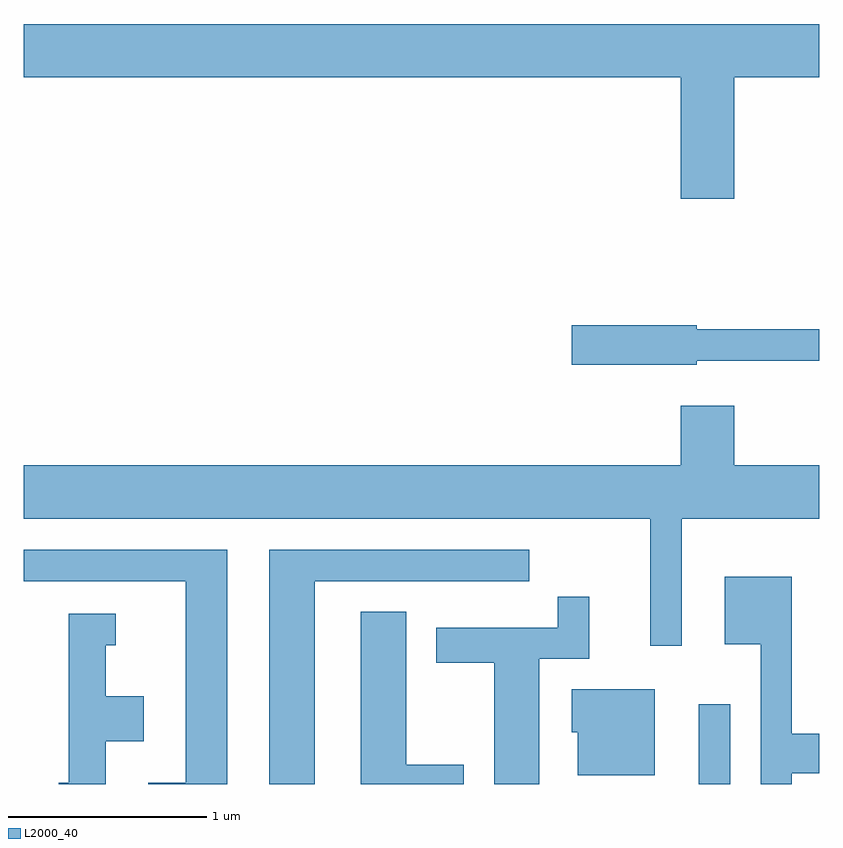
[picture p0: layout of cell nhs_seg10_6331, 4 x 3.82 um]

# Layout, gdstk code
import gdstk
lib = gdstk.Library(unit=1e-6, precision=1e-09)
def R(c, l, rs):  # rectangles x0, y0, x1, y1
    for r in rs: c.add(gdstk.rectangle(r[:2], r[2:], *l))
def P(c, l, *ps):  # polygons
    for p in ps: c.add(gdstk.Polygon(p, *l))
L2000_40 = (2000, 40)

nhs_seg10_6331 = lib.new_cell('nhs_seg10_6331')
R(nhs_seg10_6331, L2000_40, [(375.006,2172.522,375.164,2172.923)])
P(nhs_seg10_6331, L2000_40, [(375.184,2176.076),(375.611,2176.076),(375.611,2176.344),(371.611,2176.344),(371.611,2176.076),(374.916,2176.076),(374.916,2175.466),(375.184,2175.466)],
  [(374.994,2174.651),(375.611,2174.651),(375.611,2174.809),(374.994,2174.809),(374.994,2174.829),(374.366,2174.829),(374.366,2174.631),(374.994,2174.631)],
  [(374.919,2173.856),(375.611,2173.856),(375.611,2174.124),(375.184,2174.124),(375.184,2174.424),(374.916,2174.424),(374.916,2174.124),(371.611,2174.124),(371.611,2173.856),(374.761,2173.856),(374.761,2173.218),(374.919,2173.218)],
  [(373.074,2173.541),(374.153,2173.541),(374.153,2173.699),(372.846,2173.699),(372.846,2172.522),(373.074,2172.522)],
  [(372.634,2173.699),(371.611,2173.699),(371.611,2173.541),(372.426,2173.541),(372.426,2172.529),(372.238,2172.529),(372.238,2172.522),(372.634,2172.522)],
  [(375.474,2172.576),(375.611,2172.576),(375.611,2172.774),(375.474,2172.774),(375.474,2173.564),(375.136,2173.564),(375.136,2173.226),(375.316,2173.226),(375.316,2172.522),(375.474,2172.522)],
  [(374.204,2173.151),(374.454,2173.151),(374.454,2173.463),(374.296,2173.463),(374.296,2173.309),(373.686,2173.309),(373.686,2173.131),(373.976,2173.131),(373.976,2172.522),(374.204,2172.522)],
  [(373.824,2172.619),(373.534,2172.619),(373.534,2173.389),(373.306,2173.389),(373.306,2172.522),(373.824,2172.522)],
  [(372.024,2172.736),(372.214,2172.736),(372.214,2172.964),(372.024,2172.964),(372.024,2173.221),(372.073,2173.221),(372.073,2173.379),(371.836,2173.379),(371.836,2172.529),(371.788,2172.529),(371.788,2172.522),(372.024,2172.522)],
  [(374.784,2172.999),(374.366,2172.999),(374.366,2172.781),(374.396,2172.781),(374.396,2172.566),(374.784,2172.566)])

lib.write_gds('nhs_seg10_6331.gds')
